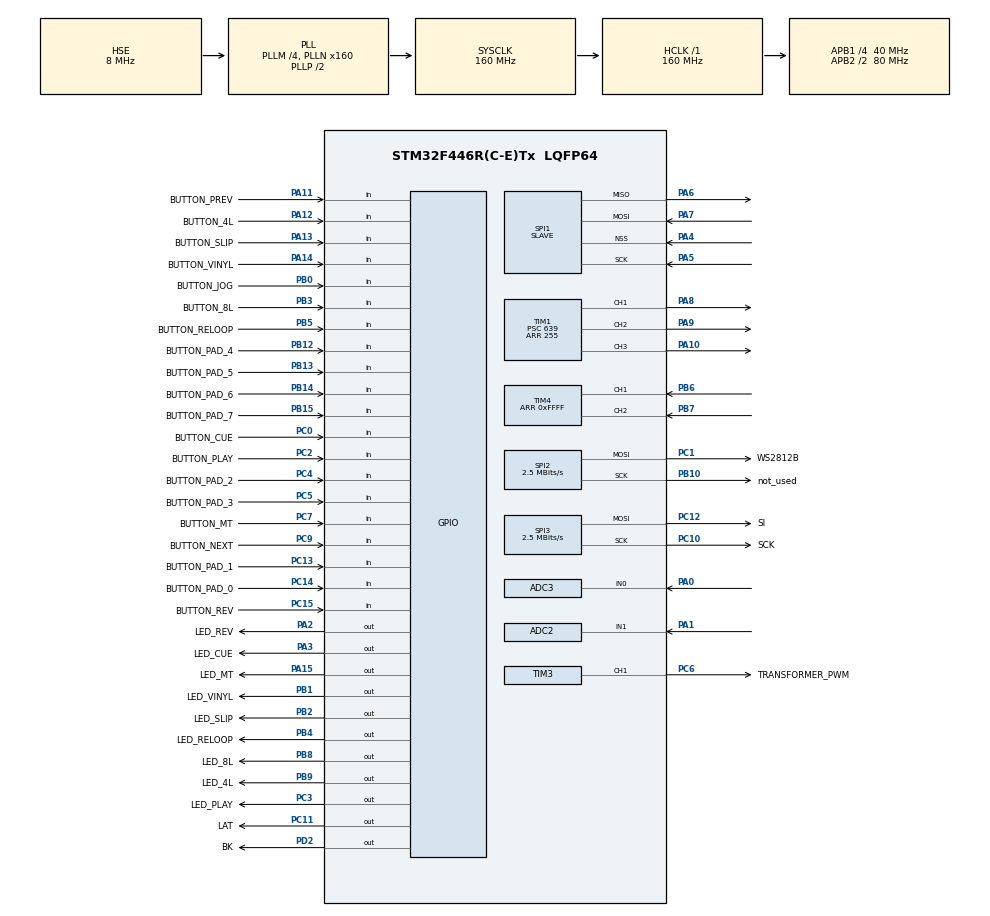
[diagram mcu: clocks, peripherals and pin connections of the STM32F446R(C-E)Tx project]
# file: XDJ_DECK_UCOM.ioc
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ADC1.Channel-0\#ChannelRegularConversion=ADC_CHANNEL_VREFINT
ADC1.NbrOfConversionFlag=1
ADC1.Rank-0\#ChannelRegularConversion=1
ADC1.SamplingTime-0\#ChannelRegularConversion=ADC_SAMPLETIME_3CYCLES
ADC1.master=1
ADC2.Channel-0\#ChannelRegularConversion=ADC_CHANNEL_1
ADC2.NbrOfConversionFlag=1
ADC2.Rank-0\#ChannelRegularConversion=1
ADC2.SamplingTime-0\#ChannelRegularConversion=ADC_SAMPLETIME_3CYCLES
ADC3.Channel-0\#ChannelRegularConversion=ADC_CHANNEL_0
ADC3.NbrOfConversionFlag=1
ADC3.Rank-0\#ChannelRegularConversion=1
ADC3.SamplingTime-0\#ChannelRegularConversion=ADC_SAMPLETIME_3CYCLES
Dma.Request0=SPI2_TX
Dma.Request1=SPI3_TX
Dma.Request2=SPI1_RX
Dma.Request3=SPI1_TX
Dma.SPI1_RX.2.Direction=DMA_PERIPH_TO_MEMORY
Dma.SPI1_RX.2.FIFOMode=DMA_FIFOMODE_DISABLE
Dma.SPI1_RX.2.Instance=DMA2_Stream0
Dma.SPI1_RX.2.MemDataAlignment=DMA_MDATAALIGN_BYTE
Dma.SPI1_RX.2.MemInc=DMA_MINC_ENABLE
Dma.SPI1_RX.2.Mode=DMA_CIRCULAR
Dma.SPI1_RX.2.PeriphDataAlignment=DMA_PDATAALIGN_BYTE
Dma.SPI1_RX.2.PeriphInc=DMA_PINC_DISABLE
Dma.SPI1_RX.2.Priority=DMA_PRIORITY_HIGH
Dma.SPI1_TX.3.Direction=DMA_MEMORY_TO_PERIPH
Dma.SPI1_TX.3.FIFOMode=DMA_FIFOMODE_DISABLE
Dma.SPI1_TX.3.Instance=DMA2_Stream3
Dma.SPI1_TX.3.MemDataAlignment=DMA_MDATAALIGN_BYTE
Dma.SPI1_TX.3.MemInc=DMA_MINC_ENABLE
Dma.SPI1_TX.3.Mode=DMA_CIRCULAR
Dma.SPI1_TX.3.PeriphDataAlignment=DMA_PDATAALIGN_BYTE
Dma.SPI1_TX.3.PeriphInc=DMA_PINC_DISABLE
Dma.SPI1_TX.3.Priority=DMA_PRIORITY_HIGH
Dma.SPI2_TX.0.Direction=DMA_MEMORY_TO_PERIPH
Dma.SPI2_TX.0.FIFOMode=DMA_FIFOMODE_DISABLE
Dma.SPI2_TX.0.Instance=DMA1_Stream4
Dma.SPI2_TX.0.MemDataAlignment=DMA_MDATAALIGN_BYTE
Dma.SPI2_TX.0.MemInc=DMA_MINC_ENABLE
Dma.SPI2_TX.0.Mode=DMA_NORMAL
Dma.SPI2_TX.0.PeriphDataAlignment=DMA_PDATAALIGN_BYTE
Dma.SPI2_TX.0.PeriphInc=DMA_PINC_DISABLE
Dma.SPI2_TX.0.Priority=DMA_PRIORITY_LOW
Dma.SPI3_TX.1.Direction=DMA_MEMORY_TO_PERIPH
Dma.SPI3_TX.1.FIFOMode=DMA_FIFOMODE_DISABLE
Dma.SPI3_TX.1.Instance=DMA1_Stream5
Dma.SPI3_TX.1.MemDataAlignment=DMA_MDATAALIGN_BYTE
Dma.SPI3_TX.1.MemInc=DMA_MINC_ENABLE
Dma.SPI3_TX.1.Mode=DMA_NORMAL
Dma.SPI3_TX.1.PeriphDataAlignment=DMA_PDATAALIGN_BYTE
Dma.SPI3_TX.1.PeriphInc=DMA_PINC_DISABLE
Dma.SPI3_TX.1.Priority=DMA_PRIORITY_LOW
Mcu.Family=STM32F4
Mcu.Name=STM32F446R(C-E)Tx
Mcu.Package=LQFP64
NVIC.DMA1_Stream4_IRQn=true\:1\:0\:true\:false\:true\:false
NVIC.DMA1_Stream5_IRQn=true\:1\:0\:true\:false\:true\:false
NVIC.DMA2_Stream0_IRQn=true\:0\:0\:false\:false\:true\:false
NVIC.DMA2_Stream3_IRQn=true\:0\:0\:false\:false\:true\:false
NVIC.PriorityGroup=NVIC_PRIORITYGROUP_4
NVIC.TIM4_IRQn=true\:2\:0\:true\:false\:true\:true
NVIC.TIM5_IRQn=true\:3\:0\:true\:false\:true\:true
PA0-WKUP.Signal=ADCx_IN0
PA1.Signal=ADCx_IN1
PA10.Signal=S_TIM1_CH3
PA11.GPIO_Label=BUTTON_PREV
PA11.GPIO_PuPd=GPIO_PULLUP
PA11.Signal=GPIO_Input
PA12.GPIO_Label=BUTTON_4L
PA12.GPIO_PuPd=GPIO_PULLUP
PA12.Signal=GPIO_Input
PA13.GPIO_Label=BUTTON_SLIP
PA13.GPIO_PuPd=GPIO_PULLUP
PA13.Signal=GPIO_Input
PA14.GPIO_Label=BUTTON_VINYL
PA14.GPIO_PuPd=GPIO_PULLUP
PA14.Signal=GPIO_Input
PA15.GPIO_Label=LED_MT
PA15.GPIO_Speed=GPIO_SPEED_FREQ_HIGH
PA15.Signal=GPIO_Output
PA2.GPIO_Label=LED_REV
PA2.GPIO_Speed=GPIO_SPEED_FREQ_HIGH
PA2.Signal=GPIO_Output
PA3.GPIO_Label=LED_CUE
PA3.GPIO_Speed=GPIO_SPEED_FREQ_HIGH
PA3.Signal=GPIO_Output
PA4.GPIO_Speed=GPIO_SPEED_FREQ_LOW
PA4.Mode=NSS_Signal_Hard_Input
PA4.Signal=SPI1_NSS
PA5.GPIO_Speed=GPIO_SPEED_FREQ_LOW
PA5.Mode=Full_Duplex_Slave
PA5.Signal=SPI1_SCK
PA6.GPIO_Speed=GPIO_SPEED_FREQ_LOW
PA6.Mode=Full_Duplex_Slave
PA6.Signal=SPI1_MISO
PA7.GPIO_Speed=GPIO_SPEED_FREQ_LOW
PA7.Mode=Full_Duplex_Slave
PA7.Signal=SPI1_MOSI
PA8.Signal=S_TIM1_CH1
PA9.Signal=S_TIM1_CH2
PB0.GPIO_Label=BUTTON_JOG
PB0.GPIO_PuPd=GPIO_PULLUP
PB0.Signal=GPIO_Input
PB1.GPIO_Label=LED_VINYL
PB1.GPIO_Speed=GPIO_SPEED_FREQ_HIGH
PB1.Signal=GPIO_Output
PB10.GPIO_Label=not_used
PB10.Mode=TX_Only_Simplex_Unidirect_Master
PB10.Signal=SPI2_SCK
PB12.GPIO_Label=BUTTON_PAD_4
PB12.GPIO_PuPd=GPIO_PULLUP
PB12.Signal=GPIO_Input
PB13.GPIO_Label=BUTTON_PAD_5
PB13.GPIO_PuPd=GPIO_PULLUP
PB13.Signal=GPIO_Input
PB14.GPIO_Label=BUTTON_PAD_6
PB14.GPIO_PuPd=GPIO_PULLUP
PB14.Signal=GPIO_Input
PB15.GPIO_Label=BUTTON_PAD_7
PB15.GPIO_PuPd=GPIO_PULLUP
PB15.Signal=GPIO_Input
PB2.GPIO_Label=LED_SLIP
PB2.GPIO_Speed=GPIO_SPEED_FREQ_HIGH
PB2.Signal=GPIO_Output
PB3.GPIO_Label=BUTTON_8L
PB3.GPIO_PuPd=GPIO_PULLUP
PB3.Signal=GPIO_Input
PB4.GPIO_Label=LED_RELOOP
PB4.GPIO_Speed=GPIO_SPEED_FREQ_HIGH
PB4.Signal=GPIO_Output
PB5.GPIO_Label=BUTTON_RELOOP
PB5.GPIO_PuPd=GPIO_PULLUP
PB5.Signal=GPIO_Input
PB6.Signal=S_TIM4_CH1
PB7.Signal=S_TIM4_CH2
PB8.GPIO_Label=LED_8L
PB8.GPIO_Speed=GPIO_SPEED_FREQ_HIGH
PB8.Signal=GPIO_Output
PB9.GPIO_Label=LED_4L
PB9.GPIO_Speed=GPIO_SPEED_FREQ_HIGH
PB9.Signal=GPIO_Output
PC0.GPIO_Label=BUTTON_CUE
PC0.GPIO_PuPd=GPIO_PULLUP
PC0.Signal=GPIO_Input
PC1.GPIO_Label=WS2812B
PC1.Mode=TX_Only_Simplex_Unidirect_Master
PC1.Signal=SPI2_MOSI
PC10.GPIO_Label=SCK
PC10.Mode=TX_Only_Simplex_Unidirect_Master
PC10.Signal=SPI3_SCK
PC11.GPIO_Label=LAT
PC11.GPIO_Speed=GPIO_SPEED_FREQ_VERY_HIGH
PC11.Signal=GPIO_Output
PC12.GPIO_Label=SI
PC12.Mode=TX_Only_Simplex_Unidirect_Master
PC12.Signal=SPI3_MOSI
PC13.GPIO_Label=BUTTON_PAD_1
PC13.GPIO_PuPd=GPIO_PULLUP
PC13.Signal=GPIO_Input
PC14-OSC32_IN.GPIO_Label=BUTTON_PAD_0
PC14-OSC32_IN.GPIO_PuPd=GPIO_PULLUP
PC14-OSC32_IN.Signal=GPIO_Input
PC15-OSC32_OUT.GPIO_Label=BUTTON_REV
PC15-OSC32_OUT.GPIO_PuPd=GPIO_PULLUP
PC15-OSC32_OUT.Signal=GPIO_Input
PC2.GPIO_Label=BUTTON_PLAY
PC2.GPIO_PuPd=GPIO_PULLUP
PC2.Signal=GPIO_Input
PC3.GPIO_Label=LED_PLAY
PC3.GPIO_Speed=GPIO_SPEED_FREQ_HIGH
PC3.Signal=GPIO_Output
PC4.GPIO_Label=BUTTON_PAD_2
PC4.GPIO_PuPd=GPIO_PULLUP
PC4.Signal=GPIO_Input
PC5.GPIO_Label=BUTTON_PAD_3
PC5.GPIO_PuPd=GPIO_PULLUP
PC5.Signal=GPIO_Input
PC6.GPIO_Label=TRANSFORMER_PWM
PC6.Signal=S_TIM3_CH1
PC7.GPIO_Label=BUTTON_MT
PC7.GPIO_PuPd=GPIO_PULLUP
PC7.Signal=GPIO_Input
PC9.GPIO_Label=BUTTON_NEXT
PC9.GPIO_PuPd=GPIO_PULLUP
PC9.Signal=GPIO_Input
PD2.GPIO_Label=BK
PD2.GPIO_Speed=GPIO_SPEED_FREQ_VERY_HIGH
PD2.Signal=GPIO_Output
PH0-OSC_IN.Mode=HSE-External-Oscillator
PH0-OSC_IN.Signal=RCC_OSC_IN
PH1-OSC_OUT.Mode=HSE-External-Oscillator
PH1-OSC_OUT.Signal=RCC_OSC_OUT
ProjectManager.HeapSize=0x200
ProjectManager.StackSize=0x400
ProjectManager.TargetToolchain=MDK-ARM V5
RCC.AHBFreq_Value=160000000
RCC.APB1CLKDivider=RCC_HCLK_DIV4
RCC.APB1Freq_Value=40000000
RCC.APB1TimFreq_Value=80000000
RCC.APB2CLKDivider=RCC_HCLK_DIV2
RCC.APB2Freq_Value=80000000
RCC.APB2TimFreq_Value=160000000
RCC.CortexFreq_Value=160000000
RCC.HCLKFreq_Value=160000000
RCC.HSE_VALUE=8000000
RCC.PLLM=4
RCC.PLLN=160
RCC.PLLSourceVirtual=RCC_PLLSOURCE_HSE
RCC.SYSCLKFreq_VALUE=160000000
RCC.SYSCLKSource=RCC_SYSCLKSOURCE_PLLCLK
RCC.USBFreq_Value=160000000
RCC.VCOOutputFreq_Value=320000000
SH.ADCx_IN0.0=ADC3_IN0,IN0
SH.ADCx_IN1.0=ADC2_IN1,IN1
SH.S_TIM1_CH1.0=TIM1_CH1,PWM Generation1 CH1
SH.S_TIM1_CH2.0=TIM1_CH2,PWM Generation2 CH2
SH.S_TIM1_CH3.0=TIM1_CH3,PWM Generation3 CH3
SH.S_TIM3_CH1.0=TIM3_CH1,PWM Generation1 CH1
SH.S_TIM4_CH1.0=TIM4_CH1,Encoder_Interface
SH.S_TIM4_CH2.0=TIM4_CH2,Encoder_Interface
SPI1.CLKPhase=SPI_PHASE_1EDGE
SPI1.CLKPolarity=SPI_POLARITY_HIGH
SPI1.Direction=SPI_DIRECTION_2LINES
SPI1.Mode=SPI_MODE_SLAVE
SPI1.VirtualNSS=VM_NSSHARD
SPI1.VirtualType=VM_SLAVE
SPI2.BaudRatePrescaler=SPI_BAUDRATEPRESCALER_16
SPI2.CalculateBaudRate=2.5 MBits/s
SPI2.Direction=SPI_DIRECTION_2LINES
SPI2.Mode=SPI_MODE_MASTER
SPI2.VirtualType=VM_MASTER
SPI3.BaudRatePrescaler=SPI_BAUDRATEPRESCALER_16
SPI3.CalculateBaudRate=2.5 MBits/s
SPI3.Direction=SPI_DIRECTION_2LINES
SPI3.Mode=SPI_MODE_MASTER
SPI3.VirtualType=VM_MASTER
TIM1.Channel-PWM\ Generation1\ CH1=TIM_CHANNEL_1
TIM1.Channel-PWM\ Generation2\ CH2=TIM_CHANNEL_2
TIM1.Channel-PWM\ Generation3\ CH3=TIM_CHANNEL_3
TIM1.ClockDivision=TIM_CLOCKDIVISION_DIV2
TIM1.Period=255
TIM1.Prescaler=639
TIM1.Pulse-PWM\ Generation1\ CH1=0
TIM1.Pulse-PWM\ Generation2\ CH2=0
TIM1.Pulse-PWM\ Generation3\ CH3=0
TIM2.ClockDivision=TIM_CLOCKDIVISION_DIV4
TIM2.Period=0xFFFFFFFF
TIM2.Prescaler=19
TIM3.Channel-PWM\ Generation1\ CH1=TIM_CHANNEL_1
TIM3.Period=159
TIM3.Prescaler=4
TIM3.Pulse-PWM\ Generation1\ CH1=0
TIM4.EncoderMode=TIM_ENCODERMODE_TI12
TIM4.IC1Filter=14
TIM4.IC1Polarity=TIM_ICPOLARITY_FALLING
TIM4.IC2Filter=14
TIM4.IC2Polarity=TIM_ICPOLARITY_FALLING
TIM4.Period=0xFFFF
TIM5.ClockDivision=TIM_CLOCKDIVISION_DIV2
TIM5.Period=1900
TIM5.Prescaler=7
VP_ADC1_Vref_Input.Mode=IN-Vrefint
VP_TIM1_VS_ClockSourceINT.Mode=Internal
VP_TIM2_VS_ClockSourceINT.Mode=Internal
VP_TIM3_VS_ClockSourceINT.Mode=Internal
VP_TIM5_VS_ClockSourceINT.Mode=Internal
board=XDJ_DECK_UCOM

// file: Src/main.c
/**
  ******************************************************************************
  * @file           : main.c
  * @brief          : Main program body
  ******************************************************************************
  ** This notice applies to any and all portions of this file
  * that are not between comment pairs USER CODE BEGIN and
  * USER CODE END. Other portions of this file, whether
  * inserted by the user or by software development tools
  * are owned by their respective copyright owners.
  *
  * COPYRIGHT(c) 2025 STMicroelectronics
  *
  * Redistribution and use in source and binary forms, with or without modification,
  * are permitted provided that the following conditions are met:
  *   1. Redistributions of source code must retain the above copyright notice,
  *      this list of conditions and the following disclaimer.
  *   2. Redistributions in binary form must reproduce the above copyright notice,
  *      this list of conditions and the following disclaimer in the documentation
  *      and/or other materials provided with the distribution.
  *   3. Neither the name of STMicroelectronics nor the names of its contributors
  *      may be used to endorse or promote products derived from this software
  *      without specific prior written permission.
  *
  * THIS SOFTWARE IS PROVIDED BY THE COPYRIGHT HOLDERS AND CONTRIBUTORS "AS IS"
  * AND ANY EXPRESS OR IMPLIED WARRANTIES, INCLUDING, BUT NOT LIMITED TO, THE
  * IMPLIED WARRANTIES OF MERCHANTABILITY AND FITNESS FOR A PARTICULAR PURPOSE ARE
  * DISCLAIMED. IN NO EVENT SHALL THE COPYRIGHT HOLDER OR CONTRIBUTORS BE LIABLE
  * FOR ANY DIRECT, INDIRECT, INCIDENTAL, SPECIAL, EXEMPLARY, OR CONSEQUENTIAL
  * DAMAGES (INCLUDING, BUT NOT LIMITED TO, PROCUREMENT OF SUBSTITUTE GOODS OR
  * SERVICES; LOSS OF USE, DATA, OR PROFITS; OR BUSINESS INTERRUPTION) HOWEVER
  * CAUSED AND ON ANY THEORY OF LIABILITY, WHETHER IN CONTRACT, STRICT LIABILITY,
  * OR TORT (INCLUDING NEGLIGENCE OR OTHERWISE) ARISING IN ANY WAY OUT OF THE USE
  * OF THIS SOFTWARE, EVEN IF ADVISED OF THE POSSIBILITY OF SUCH DAMAGE.
  *
  ******************************************************************************
  */
#include "main.h"
#include "stm32f4xx_hal.h"
#include "adc.h"
#include "dma.h"
#include "spi.h"
#include "tim.h"
#include "gpio.h"

/* USER CODE BEGIN PV */
/* Private variables ---------------------------------------------------------*/
#include "VFL_data.h"

////////////////////////////////////////////////////////////////////////////////////////
//
//
//
//
//		Generated with: STM32CubeMX 4.25.1
//		Firmware Package Name and Version STM32Cube FW_F4 V1.21.0
//
//
//
//
//
//
//	TIM1 LEDS PWM
//	TIM2 time counter for jog encoder
//	TIM3 transformer PWM
//	TIM4 JOG ENCODER TIMER
//	TIM5 1315*4Hz for VFD
//	SPI1 DMA for transfer between main assy and deck ucom
//	SPI2 DMA for PADS RGB leds
//	SPI3 DMA for VFD
//
//
//
//
////////////////////////////////////////////////////////////////////////////////////////
//
//
//
//	ver. 0.03
//		- added all gpio
//		- added sharp fade transformer pwm
//	ver. 0.11
//		- added button and leds handler
//		- added difine separated code for DECK_1 and DECK_2
//		-	added spi pads function
//	ver. 0.12
//		-	changed starting delays
//	ver. 0.15
//		-	regenerated code
//		-	add SPI DMA RX, TX buffer
//	ver. 0.16
//		- fix spi bug, change gpio speed to low
//	ver. 0.17
//		- added button and leds first handler in spi irq
//	ver. 0.19
//		-	improved SPI transfer
//	ver. 0.20
//		-	SPI transfer fixed
//	ver. 0.21
//		- changed packet length to 8 bytes (7+CRC)
//	ver. 0.23
//		- added cue on vfd
//		- added slip mode on vfd
//	ver. 0.25
//		-	regenerated code
//		-	added TIM2
//	ver. 0.26
//		-	improved jog cnt
//	ver. 0.27
//		- fixed bug, data offsets on 2 deck due to packet reduction by 16 bytes
//	ver. 0.29
//		- slip mode round clear fixed
//		- adc pitch gysteresis added
//	ver. 0.31
//		- PWM ring have been changed
//	ver. 0.34
//		- load animation added
//		- power animation added
//		- spi transfer up to 2X
//	ver. 0.36
//		- improved jog encoder code
//	ver. 0.39
//		-	The WH2812B data transfer lib has been modified due to the SPI frequency not being suitable for 4-bit data transfer. The buffer has been changed from 100=>75 bytes. 4=>3 bit data transfer.
//	ver. 0.41
//		-	draw_cue_sector (prev_cue_sect<86) bug fixed
//		- startup pads color have been changed
//		- pitch ADC (pot_convcd, POTCL, POTCH, POTxCD1, POTxCD2) have been changed
//
//
//
//
//
//
//
//
//
//
//
////////////////////////////////////////////////////////////////////////////////////////

///////DECK CONFIGURATION//////

#define DECK_1							//cooment this line, when deck 2 used

//#ifdef DECK_1

//#endif

//#ifndef DECK_1

//#endif

#include "global_variables.h"
#include "CRC.h"
extern DMA_HandleTypeDef hdma_spi1_tx;

uint8_t FIRMWARE_VERSION = 41;			//127 max!

/* USER CODE END PV */

void SystemClock_Config(void);

/* USER CODE BEGIN PFP */
/* Private function prototypes -----------------------------------------------*/
#include "VFL_GUI.h"
void COLOR_SET(uint32_t color, uint8_t LD);

/* USER CODE END PFP */

int main(void)
{

  /* MCU Configuration----------------------------------------------------------*/

  /* Reset of all peripherals, Initializes the Flash interface and the Systick. */
  HAL_Init();

  /* Configure the system clock */
  SystemClock_Config();

  /* Initialize all configured peripherals */
  MX_GPIO_Init();
  MX_DMA_Init();
  MX_SPI1_Init();
  MX_TIM1_Init();
  MX_ADC1_Init();
  MX_ADC2_Init();
  MX_ADC3_Init();
  MX_SPI2_Init();
  MX_SPI3_Init();
  MX_TIM3_Init();
  MX_TIM4_Init();
  MX_TIM5_Init();
  MX_TIM2_Init();
  /* USER CODE BEGIN 2 */
	HAL_TIM_Base_Start_IT(&htim2);				//ENCODER TIME
	HAL_TIM_Encoder_Start_IT(&htim4, TIM_CHANNEL_ALL);				//ENCODER

	#ifdef DECK_1
	deckTbuf[4] = FIRMWARE_VERSION;
	#endif

	#ifndef DECK_1
	deckTbuf[12] = FIRMWARE_VERSION;
	#endif

	HAL_TIM_Base_Start_IT(&htim5);
	HAL_TIM_PWM_Start(&htim3, TIM_CHANNEL_1);			//transformer pwm
	TIM1->CCR1 = 0;
	TIM1->CCR2 = 0;
	TIM1->CCR3 = 0;
	HAL_TIM_PWM_Start(&htim1, TIM_CHANNEL_1);			//leds pwm
	HAL_TIM_PWM_Start(&htim1, TIM_CHANNEL_2);			//leds pwm
	HAL_TIM_PWM_Start(&htim1, TIM_CHANNEL_3);			//leds pwm

	HAL_Delay(1500);
	for(i=0;i<transformer_pwm;i++)			//soft start pwm
		{
		TIM3->CCR1 = i;
		HAL_Delay(25);
		}
	TIM3->CCR1 = transformer_pwm;
	HAL_Delay(1000);

	HAL_SPI_TransmitReceive_DMA(&hspi1, deckTbuf, deckRbuf, 16);

	HAL_Delay(300);
	COLOR_SET(0xFF780030, 0);
	COLOR_SET(0xFF780030, 1);
	COLOR_SET(0xFF780030, 2);
	COLOR_SET(0xFF780030, 3);
	COLOR_SET(0xFF780030, 4);
	COLOR_SET(0xFF780030, 5);
	COLOR_SET(0xFF780030, 6);
	COLOR_SET(0xFF780030, 7);
	HAL_SPI_Transmit_DMA(&hspi2, PAD_BUF, 75);

	HAL_GPIO_WritePin(GPIOC, LED_PLAY_Pin, GPIO_PIN_SET);
  HAL_GPIO_WritePin(GPIOA, LED_REV_Pin|LED_CUE_Pin|LED_MT_Pin, GPIO_PIN_SET);
  HAL_GPIO_WritePin(GPIOB, LED_VINYL_Pin|LED_SLIP_Pin|LED_RELOOP_Pin|LED_8L_Pin
                          |LED_4L_Pin, GPIO_PIN_SET);

	VFL_DATA[0]|=BITON[4];				//vinyl label ON
	VFL_DATA[0]|=BITON[6];				//S ring

	TIM1->CCR1 = 255;
	TIM1->CCR2 = 255;
	TIM1->CCR3 = 255;

  /* USER CODE END 2 */

  /* Infinite loop */
  /* USER CODE BEGIN WHILE */
  while (1)
  {
	if(need_update_pads==2)
		{
		HAL_SPI_Transmit_DMA(&hspi2, PAD_BUF, 75);
		need_update_pads = 0;
		}

	if(animation_enable==1)			//load animation
		{
		draw_load_animation(step_animation);
		if(step_animation==0)
			{
			draw_cue_sector(85);
			prev_pl_sect = 0xFF;
			prev_cue_sect = 0xFF;
			prev_slip_sect = 0xFF;
			HAL_Delay(200);		//stay on first step - empty circle
			}
		HAL_Delay(9);
		step_animation++;
		if(step_animation==69)
			{
			HAL_Delay(400);
			animation_enable = 0;
			step_animation = 0;
			}
		}
	else if(animation_enable==3)
		{
		draw_power_animation(step_animation);
		if(step_animation==0)
			{
			draw_cue_sector(85);
			prev_pl_sect = 0xFF;
			prev_cue_sect = 0xFF;
			prev_slip_sect = 0xFF;
			HAL_Delay(100);		//stay on first step - empty circle
			}
		HAL_Delay(9);
		step_animation++;
		if(step_animation==271)
			{
			HAL_Delay(50);
			animation_enable = 0;
			step_animation = 0;
			}
		}

  /* USER CODE END WHILE */

  }

}

void SystemClock_Config(void)
{

  RCC_OscInitTypeDef RCC_OscInitStruct;
  RCC_ClkInitTypeDef RCC_ClkInitStruct;

    /**Configure the main internal regulator output voltage
    */
  __HAL_RCC_PWR_CLK_ENABLE();

  __HAL_PWR_VOLTAGESCALING_CONFIG(PWR_REGULATOR_VOLTAGE_SCALE1);

    /**Initializes the CPU, AHB and APB busses clocks
    */
  RCC_OscInitStruct.OscillatorType = RCC_OSCILLATORTYPE_HSE;
  RCC_OscInitStruct.HSEState = RCC_HSE_ON;
  RCC_OscInitStruct.PLL.PLLState = RCC_PLL_ON;
  RCC_OscInitStruct.PLL.PLLSource = RCC_PLLSOURCE_HSE;
  RCC_OscInitStruct.PLL.PLLM = 4;
  RCC_OscInitStruct.PLL.PLLN = 160;
  RCC_OscInitStruct.PLL.PLLP = RCC_PLLP_DIV2;
  RCC_OscInitStruct.PLL.PLLQ = 2;
  RCC_OscInitStruct.PLL.PLLR = 2;
  if (HAL_RCC_OscConfig(&RCC_OscInitStruct) != HAL_OK)
  {
    _Error_Handler(__FILE__, __LINE__);
  }

    /**Initializes the CPU, AHB and APB busses clocks
    */
  RCC_ClkInitStruct.ClockType = RCC_CLOCKTYPE_HCLK|RCC_CLOCKTYPE_SYSCLK
                              |RCC_CLOCKTYPE_PCLK1|RCC_CLOCKTYPE_PCLK2;
  RCC_ClkInitStruct.SYSCLKSource = RCC_SYSCLKSOURCE_PLLCLK;
  RCC_ClkInitStruct.AHBCLKDivider = RCC_SYSCLK_DIV1;
  RCC_ClkInitStruct.APB1CLKDivider = RCC_HCLK_DIV4;
  RCC_ClkInitStruct.APB2CLKDivider = RCC_HCLK_DIV2;

  if (HAL_RCC_ClockConfig(&RCC_ClkInitStruct, FLASH_LATENCY_5) != HAL_OK)
  {
    _Error_Handler(__FILE__, __LINE__);
  }

    /**Configure the Systick interrupt time
    */
  HAL_SYSTICK_Config(HAL_RCC_GetHCLKFreq()/1000);

    /**Configure the Systick
    */
  HAL_SYSTICK_CLKSourceConfig(SYSTICK_CLKSOURCE_HCLK);

  /* SysTick_IRQn interrupt configuration */
  HAL_NVIC_SetPriority(SysTick_IRQn, 0, 0);
}

/* USER CODE BEGIN 4 */

///////////////////////////////////////////////////////////////
//
//		Jog encoder timer
//
void TIM4_IRQHandler(void)
	{

  HAL_TIM_IRQHandler(&htim4);
	}

#include "spi_transfer.h"

/////////////////////////////////////////////////////
//	set color buffer for rgb leds
//	led_num 0...7
//
void COLOR_SET(uint32_t color, uint8_t LD)
	{
	if(LD>7)
		{
		return;
		}
	uint8_t j, g[3];

	LD = 7-LD;

	g[1] = (color>>16) & 0x000000FF;
	g[0] = (color>>8) & 0x000000FF;
	g[2] = color & 0x000000FF;
	for(j=0;j<3;j++)
		{
		if((g[j]&0x80)!=0)
			{
			PAD_BUF[(9*LD)+(3*j)]|= 0x40;
			}
		else
			{
			PAD_BUF[(9*LD)+(3*j)]&= 0xBF;
			}
		if(((g[j]<<1)&0x80)!=0)
			{
			PAD_BUF[(9*LD)+(3*j)]|= 0x08;
			}
		else
			{
			PAD_BUF[(9*LD)+(3*j)]&= 0xF7;
			}
		if(((g[j]<<2)&0x80)!=0)
			{
			PAD_BUF[(9*LD)+(3*j)]|= 0x01;
			}
		else
			{
			PAD_BUF[(9*LD)+(3*j)]&= 0xFE;
			}
		if(((g[j]<<3)&0x80)!=0)
			{
			PAD_BUF[1+(9*LD)+(3*j)]|= 0x20;
			}
		else
			{
			PAD_BUF[1+(9*LD)+(3*j)]&= 0xDF;
			}
		if(((g[j]<<4)&0x80)!=0)
			{
			PAD_BUF[1+(9*LD)+(3*j)]|= 0x04;
			}
		else
			{
			PAD_BUF[1+(9*LD)+(3*j)]&= 0xFB;
			}
		if(((g[j]<<5)&0x80)!=0)
			{
			PAD_BUF[2+(9*LD)+(3*j)]|= 0x80;
			}
		else
			{
			PAD_BUF[2+(9*LD)+(3*j)]&= 0x7F;
			}
		if(((g[j]<<6)&0x80)!=0)
			{
			PAD_BUF[2+(9*LD)+(3*j)]|= 0x10;
			}
		else
			{
			PAD_BUF[2+(9*LD)+(3*j)]&= 0xEF;
			}
		if(((g[j]<<7)&0x80)!=0)
			{
			PAD_BUF[2+(9*LD)+(3*j)]|= 0x02;
			}
		else
			{
			PAD_BUF[2+(9*LD)+(3*j)]&= 0xFD;
			}
		}
	return;
	};

/* USER CODE END 4 */

void _Error_Handler(char *file, int line)
{
  while(1)
  {
  }
}

/************************ (C) COPYRIGHT STMicroelectronics *****END OF FILE****/
